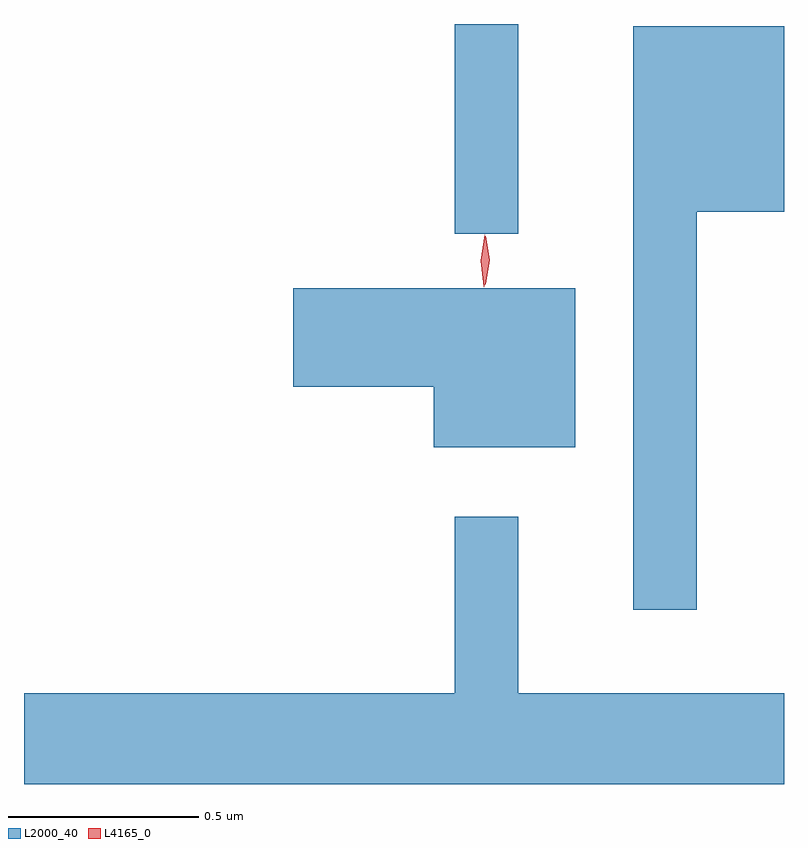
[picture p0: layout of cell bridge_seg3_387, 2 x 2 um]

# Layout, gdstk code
import gdstk
lib = gdstk.Library(unit=1e-6, precision=1e-09)
def R(c, l, rs):  # rectangles x0, y0, x1, y1
    for r in rs: c.add(gdstk.rectangle(r[:2], r[2:], *l))
def P(c, l, *ps):  # polygons
    for p in ps: c.add(gdstk.Polygon(p, *l))
L2000_40 = (2000, 40)
L4165_0 = (4165, 0)

bridge_seg3_387 = lib.new_cell('bridge_seg3_387')
R(bridge_seg3_387, L2000_40, [(562.781,1145.253,562.949,1145.805)])
P(bridge_seg3_387, L2000_40, [(563.419,1145.311),(563.648,1145.311),(563.648,1145.799),(563.251,1145.799),(563.251,1144.263),(563.419,1144.263)],
  [(563.099,1145.109),(562.356,1145.109),(562.356,1144.851),(562.726,1144.851),(562.726,1144.691),(563.099,1144.691)],
  [(563.648,1144.044),(562.949,1144.044),(562.949,1144.508),(562.781,1144.508),(562.781,1144.044),(561.648,1144.044),(561.648,1143.805),(563.648,1143.805)])
P(bridge_seg3_387, L4165_0, [(562.862,1145.12),(562.853,1145.184),(562.862,1145.246),(562.863,1145.247),(562.863,1145.246),(562.873,1145.184),(562.863,1145.12),(562.863,1145.12)],
  [(562.858,1145.114),(562.85,1145.182),(562.86,1145.25),(562.86,1145.25),(562.861,1145.25),(562.87,1145.182),(562.859,1145.114),(562.859,1145.114)])

lib.write_gds('bridge_seg3_387.gds')
